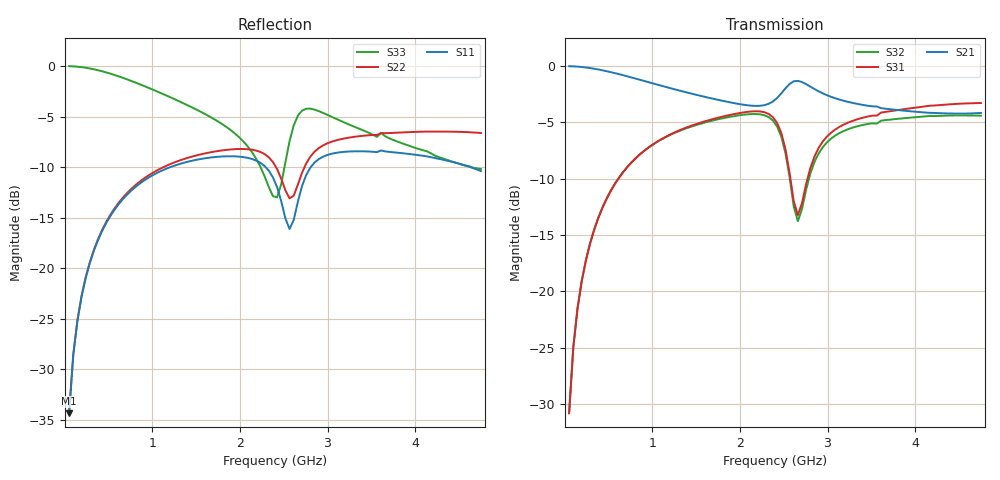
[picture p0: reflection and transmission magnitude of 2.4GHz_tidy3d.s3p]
!Created with skrf (http://scikit-rf.org).
# Hz S RI R 50.0
!freq ReS11 ImS11 ReS12 ImS12 ReS13 ImS13
! ReS21 ImS21 ReS22 ImS22 ReS23 ImS23
! ReS31 ImS31 ReS32 ImS32 ReS33 ImS33
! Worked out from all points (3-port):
!   100 points, 50 MHz to 4.75 GHz, reference 50 ohm
!   strongest paths, dB at 50 MHz, 1.237 GHz, 2.424 GHz, 3.611 GHz, 4.75 GHz:
!     S21: 0.0, -2.0, -2.9, -3.7, -4.2
!     S31: -30.8, -6.0, -5.1, -4.1, -3.3
!     S32: -30.8, -6.0, -5.4, -4.9, -4.4
!   lowest |S11| = -34.4 dB at 50 MHz (marker M1), VSWR 1.04, Z = 50.4 - j1.87 ohm
!   |S11| at or under -10 dB: start of sweep to 1.206 GHz; 2.293 GHz to 2.808 GHz (515.6 MHz wide, 20.2 % of centre); 4.629 GHz to end of sweep
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5e7  0.00455 -0.0186  -1.002 -0.0251  -0.00199 0.03
     -0.9959 -0.0252  -0.00281 -0.0191  -0.00148 0.03
     -0.00167 0.0288  -0.00186 0.0289  -0.9961 -0.0691
1.449495e8  0.012 -0.0535  -0.9952 -0.0732  -0.0151 0.0851
            -0.9889 -0.0737  0.00349 -0.0553  -0.0132 0.0853
            -0.0144 0.082  -0.013 0.0829  -0.9728 -0.1972
3.348485e8  0.0459 -0.1138  -0.9635 -0.1606  -0.0746 0.1789
            -0.957 -0.1617  0.0316 -0.12  -0.0672 0.1815
            -0.0722 0.1722  -0.0655 0.1761  -0.8642 -0.4252
1.04697e9  0.2469 -0.1614  -0.7659 -0.3298  -0.4263 0.2143
           -0.7575 -0.3324  0.2073 -0.2216  -0.3924 0.2626
           -0.4115 0.2032  -0.3814 0.2539  -0.1935 -0.7254
1.996465e9  0.3553 0.0237  -0.603 -0.3252  -0.6157 -0.1926
            -0.5914 -0.3281  0.36 -0.1467  -0.621 -0.0377
            -0.5871 -0.1915  -0.6025 -0.039  0.3382 -0.2845
2.423737e9  0.2245 0.1136  -0.6774 -0.2764  -0.3597 -0.4611
            -0.6631 -0.2804  0.3071 -0.0376  -0.4541 -0.3189
            -0.3371 -0.4448  -0.4392 -0.3113  0.0292 0.2222
2.613636e9  0.1703 -0.0305  -0.759 -0.4211  -0.1433 -0.2221
            -0.7411 -0.4233  0.193 -0.1221  -0.1905 -0.1548
            -0.1334 -0.2132  -0.1845 -0.1507  -0.484 -0.1551
2.85101e9  0.3295 -0.0475  -0.607 -0.5254  -0.4058 -0.0937
           -0.5895 -0.524  0.2953 -0.2338  -0.3819 0.0553
           -0.3853 -0.0944  -0.3716 0.0517  -0.0491 -0.6069
3.610606e9  0.349 0.1557  -0.4549 -0.4843  -0.4793 -0.4456
            -0.4376 -0.4798  0.4345 -0.1679  -0.568 -0.1522
            -0.448 -0.4292  -0.5508 -0.1521  0.406 -0.2309
4.75e9  0.1411 0.2672  -0.4187 -0.4812  -0.0739 -0.7223
        -0.3997 -0.4714  0.4634 -0.0536  -0.4397 -0.4343
        -0.0593 -0.6815  -0.4233 -0.4267  0.1742 0.2557
